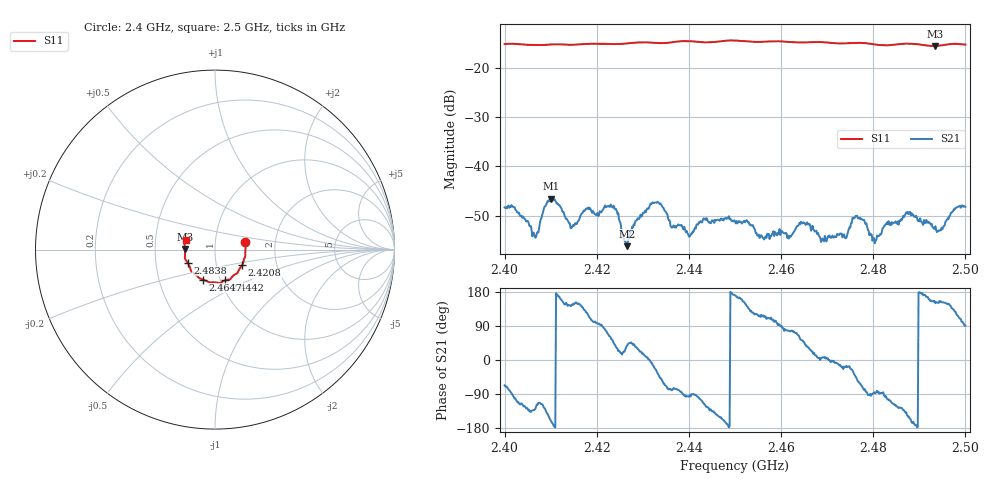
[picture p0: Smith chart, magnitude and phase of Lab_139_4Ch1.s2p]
# Hz S RI R 50
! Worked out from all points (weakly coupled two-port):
!   601 points, 2.4 GHz to 2.5 GHz, reference 50 ohm
!   highest |S21| = -46.55 dB at 2.4102 GHz (marker M1); lowest = -56.2 dB at 2.4265 GHz (marker M2)
!   lowest |S11| = -15.6 dB at 2.4933 GHz (marker M3), VSWR 1.40, Z = 35.8 + j0.0484 ohm
!   |S11| at or under -10 dB: start of sweep to end of sweep
!   S12 and S22 are empty: the file has one direction only
!   S11 on the Smith chart (normalised r, x): 2.4 GHz: 1.40, +0.12; 2.4208 GHz: 1.33, -0.24; 2.4442 GHz: 1.05, -0.37; 2.4647 GHz: 0.83, -0.29; 2.4838 GHz: 0.73, -0.11; 2.5 GHz: 0.72, +0.08
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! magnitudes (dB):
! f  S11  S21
! 2.4 GHz  -15.2  -48.3
! 2.4065 GHz  -15.4  -54.1
! 2.4102 GHz  -15.3  -46.5
! 2.4145 GHz  -15.4  -52.5
! 2.4167 GHz  -15.3  -49.6
! 2.4208 GHz  -15.2  -49.2
! 2.4238 GHz  -15.2  -48.5
! 2.4265 GHz  -15.1  -56.2
! 2.4333 GHz  -15.0  -47.3
! 2.4402 GHz  -14.6  -54.1
! 2.4442 GHz  -14.9  -51.2
! 2.45 GHz  -14.5  -51.1
! 2.4563 GHz  -14.8  -54.8
! 2.4647 GHz  -14.9  -51.5
! 2.4667 GHz  -14.8  -52.5
! 2.4738 GHz  -15.1  -54.4
! 2.4767 GHz  -15.0  -50.5
! 2.4803 GHz  -15.3  -55.6
! 2.4833 GHz  -15.5  -51.1
! 2.4838 GHz  -15.4  -51.9
! 2.4933 GHz  -15.6  -52.7
! 2.5 GHz  -15.3  -48.2
